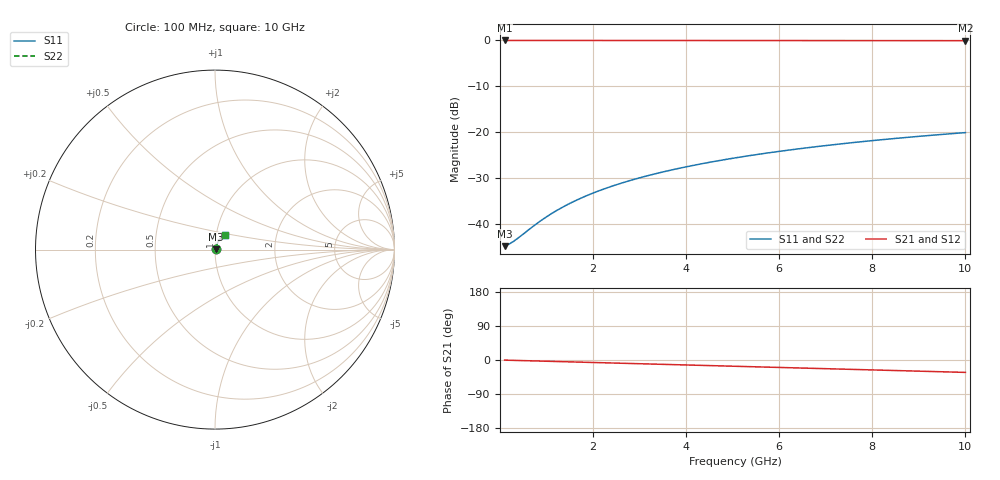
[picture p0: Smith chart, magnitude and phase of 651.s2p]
# Hz S RI R 50.00
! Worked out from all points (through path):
!   100 points, 100 MHz to 10 GHz, reference 50 ohm
!   highest |S21| = -0.05 dB at 100 MHz (marker M1); lowest = -0.1 dB at 10 GHz (marker M2)
!   group delay of S21, straight-line fit = 9.09 ps
!   lowest |S11| = -44.9 dB at 100 MHz (marker M3), VSWR 1.01, Z = 50.6 + j0.102 ohm
!   |S11| at or under -10 dB: start of sweep to end of sweep
!   |S22| runs from -44.9 to -20.1 dB; largest |S21 - S12| = 0
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1e8  0.00563 0.00101  0.9944 -0.00568  0.9944 -0.00568  0.00563 0.00101
2e8  0.00568 0.00203  0.9943 -0.0114  0.9943 -0.0114  0.00568 0.00203
3e8  0.00574 0.00304  0.9942 -0.017  0.9942 -0.017  0.00574 0.00304
8e8  0.00613 0.00808  0.9931 -0.0454  0.9931 -0.0454  0.00613 0.00808
9e8  0.00624 0.00909  0.9928 -0.0511  0.9928 -0.0511  0.00624 0.00909
1.1e9  0.0065 0.0111  0.9921 -0.0625  0.9921 -0.0625  0.0065 0.0111
1.4e9  0.00696 0.0141  0.9908 -0.0795  0.9908 -0.0795  0.00696 0.0141
1.6e9  0.00732 0.0161  0.9898 -0.0908  0.9898 -0.0908  0.00732 0.0161
1.8e9  0.00773 0.0181  0.9887 -0.1021  0.9887 -0.1021  0.00773 0.0181
2.1e9  0.00842 0.021  0.9867 -0.119  0.9867 -0.119  0.00842 0.021
2.5e9  0.0095 0.0249  0.9836 -0.1415  0.9836 -0.1415  0.0095 0.0249
2.9e9  0.0108 0.0288  0.9799 -0.1639  0.9799 -0.1639  0.0108 0.0288
3.4e9  0.0126 0.0335  0.9746 -0.1918  0.9746 -0.1918  0.0126 0.0335
3.8e9  0.0142 0.0372  0.9698 -0.214  0.9698 -0.214  0.0142 0.0372
4.2e9  0.016 0.0408  0.9645 -0.2361  0.9645 -0.2361  0.016 0.0408
4.6e9  0.018 0.0443  0.9586 -0.258  0.9586 -0.258  0.018 0.0443
5.1e9  0.0207 0.0485  0.9506 -0.2852  0.9506 -0.2852  0.0207 0.0485
5.9e9  0.0255 0.055  0.9361 -0.3281  0.9361 -0.3281  0.0255 0.055
6.7e9  0.0309 0.061  0.9197 -0.3703  0.9197 -0.3703  0.0309 0.061
7.5e9  0.0368 0.0665  0.9013 -0.4116  0.9013 -0.4116  0.0368 0.0665
8.4e9  0.044 0.072  0.8783 -0.457  0.8783 -0.457  0.044 0.072
1e10  0.058 0.0797  0.8319 -0.5343  0.8319 -0.5343  0.058 0.0797
